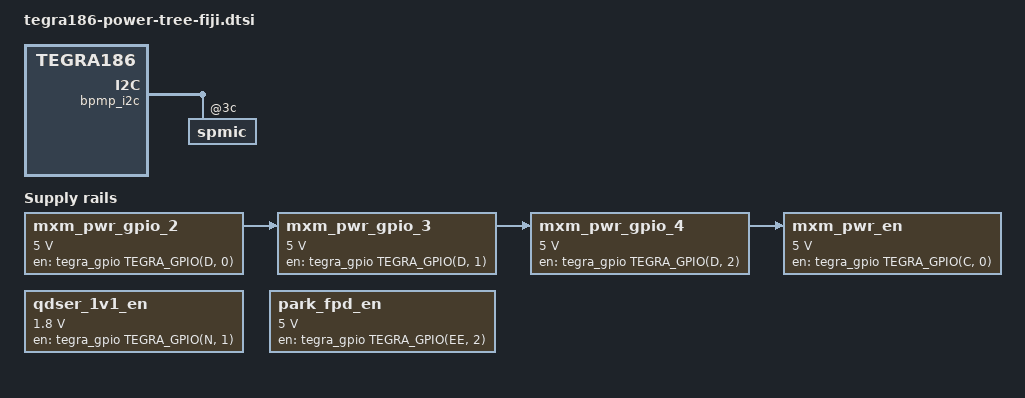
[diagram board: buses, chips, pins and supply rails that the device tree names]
/*
 * Copyright (c) 2016, NVIDIA CORPORATION.  All rights reserved.
 *
 * This program is free software; you can redistribute it and/or modify
 * it under the terms of the GNU General Public License as published by
 * the Free Software Foundation; either version 2 of the License, or
 * (at your option) any later version.
 *
 * This program is distributed in the hope that it will be useful, but WITHOUT
 * ANY WARRANTY; without even the implied warranty of MERCHANTABILITY or
 * FITNESS FOR A PARTICULAR PURPOSE.  See the GNU General Public License for
 * more details.
 */

#include "tegra186-platforms/tegra186-vcm31-power-tree-p2379-0000-c01-00.dtsi"

/ {

	/* using VBUS2_EN for USB2A */
	pinctrl@3520000 {
		/delete-property/ vbus-2-supply;
		vbus-0-supply = <&vdd_usb2_5v>;
	};

	/* Do not turn off LDO3, LDO3 is set to 1.8v in BCT PMIC */
	bpmp_i2c {
		spmic: spmic@3c {
			regulators {
				spmic_ldo3: ldo3 {
					regulator-always-on;
				};
			};
		};
	};

	fixed-regulators {

		/delete-node/regulator@5;
		/delete-node/regulator@6;

		mxm_pwr_gpio_2: regulator@5 {
			compatible = "regulator-fixed-sync";
			reg = <5>;
			regulator-name = "mxm-pwr-gpio-2";
			regulator-min-microvolt = <5000000>;
			regulator-max-microvolt = <5000000>;
			gpio = <&tegra_gpio TEGRA_GPIO(D, 0) 0>;
			startup-delay-us = <5000>;	/* 5 ms */
			enable-active-high;
			regulator-always-on;
		};
		mxm_pwr_gpio_3: regulator@6 {
			compatible = "regulator-fixed-sync";
			reg = <6>;
			regulator-name = "mxm-pwr-gpio-3";
			regulator-min-microvolt = <5000000>;
			regulator-max-microvolt = <5000000>;
			gpio = <&tegra_gpio TEGRA_GPIO(D, 1) 0>;
			startup-delay-us = <5000>;	/* 5 ms */
			enable-active-high;
			regulator-always-on;
			vin-supply = <&mxm_pwr_gpio_2>;
		};
		mxm_pwr_gpio_4: regulator@7 {
			compatible = "regulator-fixed-sync";
			reg = <7>;
			regulator-name = "mxm-pwr-gpio-4";
			regulator-min-microvolt = <5000000>;
			regulator-max-microvolt = <5000000>;
			gpio = <&tegra_gpio TEGRA_GPIO(D, 2) 0>;
			startup-delay-us = <5000>;	/* 5 ms */
			enable-active-high;
			regulator-always-on;
			vin-supply = <&mxm_pwr_gpio_3>;
		};
		mxm_pwr_en: regulator@8{
			compatible = "regulator-fixed-sync";
			reg = <8>;
			regulator-name = "mxm-pwr_en";
			regulator-min-microvolt = <5000000>;
			regulator-max-microvolt = <5000000>;
			gpio = <&tegra_gpio TEGRA_GPIO(C, 0) 0>;
			startup-delay-us = <100000>;	/* 100 ms */
			enable-active-high;
			regulator-always-on;
			vin-supply = <&mxm_pwr_gpio_4>;
		};
		qdser_1v1_en: regulator@9 {
			compatible = "regulator-fixed-sync";
			reg = <9>;
			regulator-name = "park-qdser-1v1-en";
			regulator-min-microvolt = <1800000>;
			regulator-max-microvolt = <1800000>;
			gpio = <&tegra_gpio TEGRA_GPIO(N, 1) 0>;
			enable-active-high;
			regulator-always-on;
		};
		park_fpd_en: regulator@12 {
			compatible = "regulator-fixed-sync";
			reg = <12>;
			regulator-name = "park-fpd-en";
			regulator-min-microvolt = <5000000>;
			regulator-max-microvolt = <5000000>;
			gpio = <&tegra_gpio TEGRA_GPIO(EE, 2) 0>;
			enable-active-high;
			regulator-always-on;
		};
	};
};
